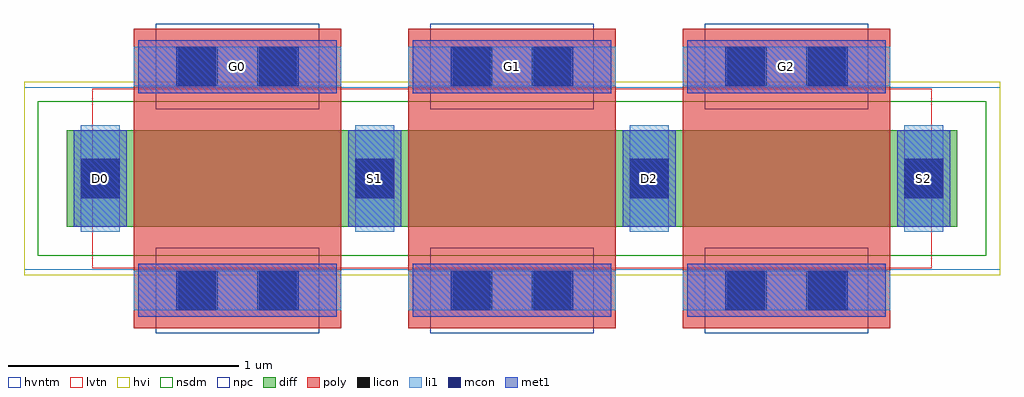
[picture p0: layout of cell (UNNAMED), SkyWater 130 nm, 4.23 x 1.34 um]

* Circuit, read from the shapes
.subckt (UNNAMED) D0 D2 G0 G1 G2 S1 S2
XM1 S1 G0 D0 VSUBS sky130_fd_pr__nfet_05v0_nvt w=0.42 l=0.9
XM2 D2 G1 S1 VSUBS sky130_fd_pr__nfet_05v0_nvt w=0.42 l=0.9
XM3 S2 G2 D2 VSUBS sky130_fd_pr__nfet_05v0_nvt w=0.42 l=0.9
.ends

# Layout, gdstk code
import gdstk
lib = gdstk.Library(unit=1e-6, precision=1e-09)
def R(c, l, rs):  # rectangles x0, y0, x1, y1
    for r in rs: c.add(gdstk.rectangle(r[:2], r[2:], *l))
def A(c, l, x, y, w, h, nx, ny, dx, dy):  # array of equal rectangles
    R(c, l, [(x+i*dx, y+j*dy, x+i*dx+w, y+j*dy+h) for i in range(nx) for j in range(ny)])
diff = (65, 20)
poly = (66, 20)
licon = (66, 44)
li1 = (67, 20)
mcon = (67, 44)
met1 = (68, 20)
hvi = (75, 20)
nsdm = (93, 44)
npc = (95, 20)
hvntm = (125, 20)
lvtn = (125, 44)

c__unnamed_ = lib.new_cell('(UNNAMED)')
R(c__unnamed_, diff, [(-1.93,-0.21,1.93,0.21)])
A(c__unnamed_, poly, -1.64, -0.65, 0.9, 1.3, 3, 1, 1.19, 0)
A(c__unnamed_, licon, -1.87, -0.085, 0.17, 0.17, 4, 1, 1.19, 0)
R(c__unnamed_, licon, [(-1.445,-0.57,-1.275,-0.4), (-1.105,-0.57,-0.935,-0.4), (-0.255,-0.57,-0.085,-0.4), (0.085,-0.57,0.255,-0.4), (0.935,-0.57,1.105,-0.4), (1.275,-0.57,1.445,-0.4), (-1.445,0.4,-1.275,0.57), (-1.105,0.4,-0.935,0.57), (-0.255,0.4,-0.085,0.57), (0.085,0.4,0.255,0.57), (0.935,0.4,1.105,0.57), (1.275,0.4,1.445,0.57)])
A(c__unnamed_, li1, -1.64, -0.57, 0.9, 0.17, 3, 2, 1.19, 0.97)
A(c__unnamed_, li1, -1.87, -0.23, 0.17, 0.46, 4, 1, 1.19, 0)
A(c__unnamed_, mcon, -1.87, -0.085, 0.17, 0.17, 4, 1, 1.19, 0)
R(c__unnamed_, mcon, [(-1.455,-0.57,-1.285,-0.4), (-1.095,-0.57,-0.925,-0.4), (-0.265,-0.57,-0.095,-0.4), (0.095,-0.57,0.265,-0.4), (0.925,-0.57,1.095,-0.4), (1.285,-0.57,1.455,-0.4), (-1.455,0.4,-1.285,0.57), (-1.095,0.4,-0.925,0.57), (-0.265,0.4,-0.095,0.57), (0.095,0.4,0.265,0.57), (0.925,0.4,1.095,0.57), (1.285,0.4,1.455,0.57)])
A(c__unnamed_, met1, -1.62, -0.6, 0.86, 0.23, 3, 2, 1.19, 0.97)
A(c__unnamed_, met1, -1.9, -0.21, 0.23, 0.42, 4, 1, 1.19, 0)
R(c__unnamed_, hvi, [(-2.115,-0.42,2.115,0.42)])
R(c__unnamed_, nsdm, [(-2.055,-0.335,2.055,0.335)])
A(c__unnamed_, npc, -1.545, -0.67, 0.71, 0.37, 3, 2, 1.19, 0.97)
R(c__unnamed_, hvntm, [(-2.115,-0.395,2.115,0.395)])
R(c__unnamed_, lvtn, [(-1.82,-0.39,1.82,0.39)])
c__unnamed_.add(gdstk.Label('D0', (-1.785,0), layer=67, texttype=5))
c__unnamed_.add(gdstk.Label('G0', (-1.19,0.485), layer=67, texttype=5))
c__unnamed_.add(gdstk.Label('S1', (-0.595,0), layer=67, texttype=5))
c__unnamed_.add(gdstk.Label('G1', (0,0.485), layer=67, texttype=5))
c__unnamed_.add(gdstk.Label('D2', (0.595,0), layer=67, texttype=5))
c__unnamed_.add(gdstk.Label('S2', (1.785,0), layer=67, texttype=5))
c__unnamed_.add(gdstk.Label('G2', (1.19,0.485), layer=67, texttype=5))

lib.write_gds('_UNNAMED_.gds')
